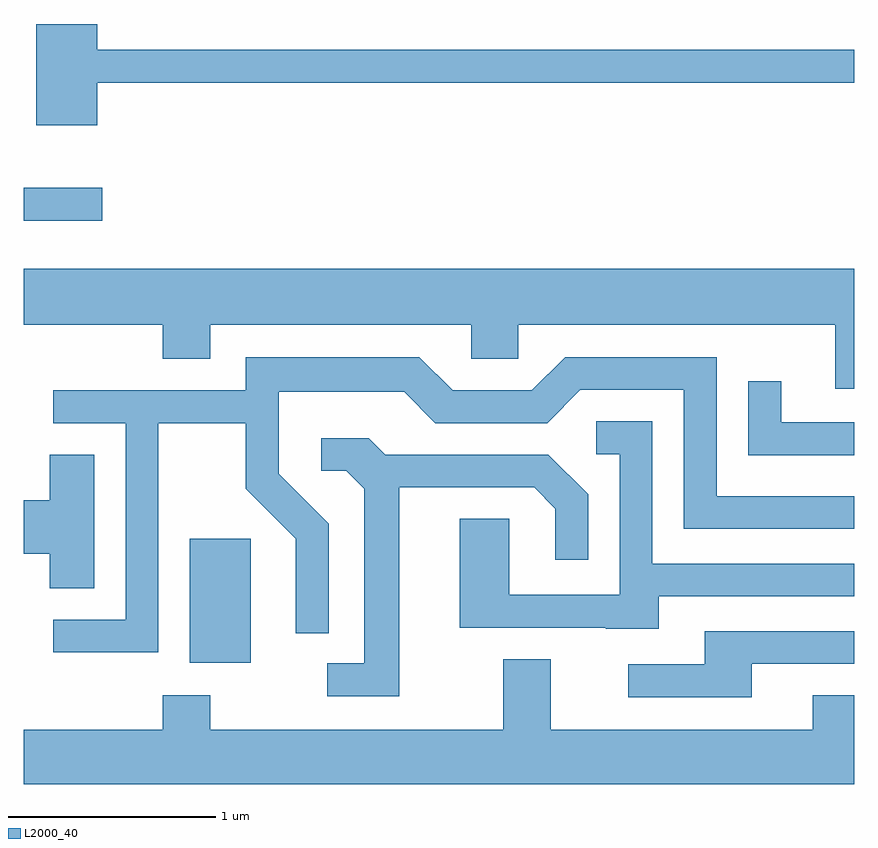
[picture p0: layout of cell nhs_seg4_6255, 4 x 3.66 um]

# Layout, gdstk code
import gdstk
lib = gdstk.Library(unit=1e-6, precision=1e-09)
def R(c, l, rs):  # rectangles x0, y0, x1, y1
    for r in rs: c.add(gdstk.rectangle(r[:2], r[2:], *l))
def P(c, l, *ps):  # polygons
    for p in ps: c.add(gdstk.Polygon(p, *l))
L2000_40 = (2000, 40)

nhs_seg4_6255 = lib.new_cell('nhs_seg4_6255')
R(nhs_seg4_6255, L2000_40, [(368.411,1388.566,368.704,1389.164), (367.611,1390.696,367.988,1390.854)])
P(nhs_seg4_6255, L2000_40, [(367.964,1391.361),(371.611,1391.361),(371.611,1391.519),(367.964,1391.519),(367.964,1391.644),(367.671,1391.644),(367.671,1391.156),(367.964,1391.156)],
  [(371.611,1390.464),(367.611,1390.464),(367.611,1390.196),(368.281,1390.196),(368.281,1390.031),(368.509,1390.031),(368.509,1390.196),(369.766,1390.196),(369.766,1390.031),(369.994,1390.031),(369.994,1390.196),(371.521,1390.196),(371.521,1389.886),(371.611,1389.886)],
  [(368.259,1389.721),(368.681,1389.721),(368.681,1389.404),(368.921,1389.164),(368.921,1388.708),(369.079,1388.708),(369.079,1389.237),(368.839,1389.477),(368.839,1389.871),(369.444,1389.871),(369.594,1389.721),(370.132,1389.721),(370.292,1389.881),(370.791,1389.881),(370.791,1389.211),(371.611,1389.211),(371.611,1389.369),(370.949,1389.369),(370.949,1390.039),(370.219,1390.039),(370.059,1389.879),(369.677,1389.879),(369.517,1390.039),(368.681,1390.039),(368.681,1389.879),(367.753,1389.879),(367.753,1389.721),(368.101,1389.721),(368.101,1388.774),(367.753,1388.774),(367.753,1388.616),(368.259,1388.616)],
  [(371.611,1389.724),(371.259,1389.724),(371.259,1389.923),(371.101,1389.923),(371.101,1389.566),(371.611,1389.566)],
  [(370.669,1388.886),(371.611,1388.886),(371.611,1389.044),(370.639,1389.044),(370.639,1389.729),(370.368,1389.729),(370.368,1389.571),(370.481,1389.571),(370.481,1388.894),(369.949,1388.894),(369.949,1389.259),(369.711,1389.259),(369.711,1388.736),(370.415,1388.736),(370.415,1388.731),(370.669,1388.731)],
  [(369.419,1389.411),(370.069,1389.411),(370.171,1389.309),(370.171,1389.063),(370.329,1389.063),(370.329,1389.377),(370.137,1389.569),(369.352,1389.569),(369.272,1389.649),(369.043,1389.649),(369.043,1389.491),(369.164,1389.491),(369.251,1389.404),(369.251,1388.564),(369.073,1388.564),(369.073,1388.406),(369.419,1388.406)],
  [(367.949,1389.569),(367.736,1389.569),(367.736,1389.349),(367.611,1389.349),(367.611,1389.091),(367.736,1389.091),(367.736,1388.926),(367.949,1388.926)],
  [(371.119,1388.561),(371.611,1388.561),(371.611,1388.719),(370.891,1388.719),(370.891,1388.559),(370.523,1388.559),(370.523,1388.401),(371.119,1388.401)],
  [(371.611,1388.409),(371.411,1388.409),(371.411,1388.244),(370.149,1388.244),(370.149,1388.584),(369.921,1388.584),(369.921,1388.244),(368.509,1388.244),(368.509,1388.409),(368.281,1388.409),(368.281,1388.244),(367.611,1388.244),(367.611,1387.982),(371.611,1387.982)])

lib.write_gds('nhs_seg4_6255.gds')
